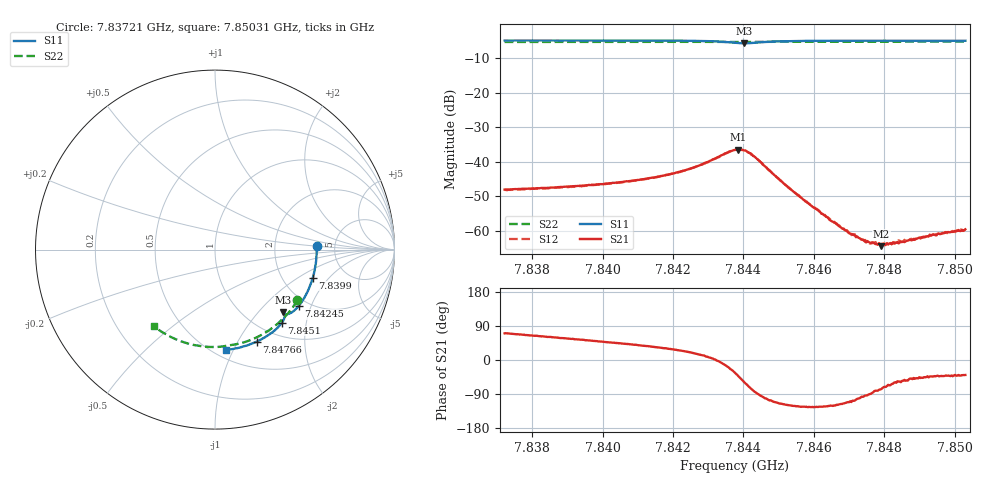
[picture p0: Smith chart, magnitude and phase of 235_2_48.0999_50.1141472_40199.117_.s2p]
#  HZ  S  RI  R  50.00
! Rohde & Schwarz Vector Network Analyzer
! Rohde-Schwarz,ZNB20-2Port,1311601062101988,3.16
! Created: UTC 12/23/2023, 3:58:11 AM
! freq[Hz]  re:S11  im:S11  re:S21  im:S21  re:S12  im:S12  re:S22  im:S22
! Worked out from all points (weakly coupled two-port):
!   401 points, 7.83721 GHz to 7.85031 GHz, reference 50 ohm
!   highest |S21| = -36.46 dB at 7.84386 GHz (marker M1); lowest = -64.4 dB at 7.84792 GHz (marker M2)
!   lowest |S11| = -5.8 dB at 7.84402 GHz (marker M3), VSWR 3.12, Z = 72.4 - j68.7 ohm
!   |S11| at or under -10 dB: nowhere
!   |S22| runs from -5.4 to -5.3 dB; largest |S21 - S12| = 0.00036
!   S11 on the Smith chart (normalised r, x): 7.83721 GHz: 3.60, +0.23; 7.8399 GHz: 2.94, -1.35; 7.84245 GHz: 1.78, -1.64; 7.8451 GHz: 1.24, -1.46; 7.84766 GHz: 0.80, -1.20; 7.85031 GHz: 0.57, -0.94
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7.837214e9  0.5659 0.0218  0.00134 0.00374  0.00134 0.00368  0.4595 -0.2828
7.839407e9  0.5533 -0.1234  0.00269 0.00364  0.00265 0.00355  0.3623 -0.401
7.839898e9  0.5452 -0.1555  0.0031 0.00358  0.00306 0.00354  0.3361 -0.4234
7.840552e9  0.5311 -0.1974  0.00372 0.00351  0.00366 0.00351  0.2991 -0.4507
7.8416e9  0.5008 -0.263  0.00513 0.00334  0.00507 0.00335  0.2354 -0.4873
7.842451e9  0.4665 -0.314  0.00733 0.0028  0.00732 0.00278  0.1803 -0.5105
7.843269e9  0.4174 -0.3554  0.0117 -0.000468  0.0116 -0.000436  0.1247 -0.526
7.84376e9  0.3823 -0.3566  0.0123 -0.00838  0.0124 -0.00817  0.0917 -0.5312
7.843859e9  0.379 -0.3535  0.011 -0.0103  0.0111 -0.0102  0.0856 -0.532
7.844022e9  0.3789 -0.3488  0.00762 -0.0125  0.00773 -0.0123  0.0754 -0.5339
7.844317e9  0.387 -0.3546  0.00131 -0.0118  0.00144 -0.0118  0.0564 -0.5373
7.845102e9  0.3733 -0.4069  -0.00224 -0.00459  -0.00224 -0.0046  0.00153 -0.5427
7.845954e9  0.3308 -0.4516  -0.00127 -0.00189  -0.0013 -0.0019  -0.0586 -0.5405
7.84651e9  0.2998 -0.4748  -0.000702 -0.00119  -0.000745 -0.00123  -0.0974 -0.5353
7.847034e9  0.2694 -0.4937  -0.000296 -0.000864  -0.000327 -0.0009  -0.1335 -0.5278
7.847427e9  0.2457 -0.5064  -7.27e-05 -0.000727  -0.000102 -0.00072  -0.1602 -0.5206
7.847656e9  0.2317 -0.5128  3.9e-05 -0.000686  3.06e-05 -0.000667  -0.1754 -0.5158
7.847918e9  0.2157 -0.5201  0.00014 -0.000587  0.000187 -0.000618  -0.1928 -0.5097
7.848147e9  0.2013 -0.5257  0.000259 -0.000607  0.000266 -0.000569  -0.2078 -0.5039
7.848539e9  0.1765 -0.5347  0.000404 -0.000573  0.000417 -0.000571  -0.233 -0.4929
7.849325e9  0.1261 -0.5487  0.00063 -0.00059  0.000635 -0.000569  -0.2817 -0.4672
7.850307e9  0.0615 -0.5589  0.000818 -0.000675  0.0008 -0.000693  -0.3389 -0.4284
